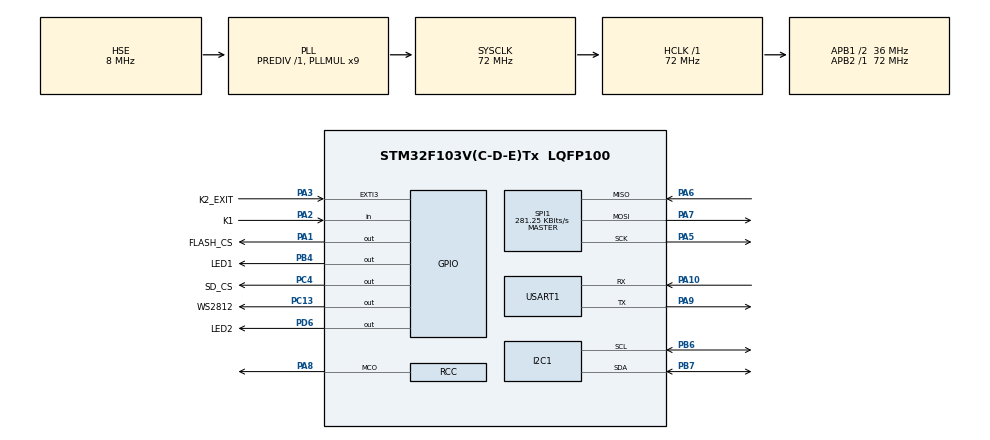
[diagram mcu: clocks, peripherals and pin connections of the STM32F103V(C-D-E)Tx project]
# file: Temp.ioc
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Mcu.Family=STM32F1
Mcu.Name=STM32F103V(C-D-E)Tx
Mcu.Package=LQFP100
NVIC.EXTI3_IRQn=true\:0\:0\:false\:false\:true\:true\:true\:true
NVIC.PriorityGroup=NVIC_PRIORITYGROUP_4
NVIC.USART1_IRQn=true\:0\:0\:false\:false\:true\:true\:true\:true
OSC_IN.Mode=HSE-External-Oscillator
OSC_IN.Signal=RCC_OSC_IN
OSC_OUT.Mode=HSE-External-Oscillator
OSC_OUT.Signal=RCC_OSC_OUT
PA1.GPIO_Label=FLASH_CS
PA1.GPIO_PuPd=GPIO_PULLUP
PA1.GPIO_Speed=GPIO_SPEED_FREQ_HIGH
PA1.PinState=GPIO_PIN_SET
PA1.Signal=GPIO_Output
PA10.Mode=Asynchronous
PA10.Signal=USART1_RX
PA13.Mode=Serial_Wire
PA13.Signal=SYS_JTMS-SWDIO
PA14.Mode=Serial_Wire
PA14.Signal=SYS_JTCK-SWCLK
PA2.GPIO_Label=K1
PA2.Signal=GPIO_Input
PA3.GPIO_Label=K2_EXIT
PA3.GPIO_ModeDefaultEXTI=GPIO_MODE_IT_FALLING
PA3.Signal=GPXTI3
PA5.Mode=Full_Duplex_Master
PA5.Signal=SPI1_SCK
PA6.Mode=Full_Duplex_Master
PA6.Signal=SPI1_MISO
PA7.Mode=Full_Duplex_Master
PA7.Signal=SPI1_MOSI
PA8.Mode=Clock-out
PA8.Signal=RCC_MCO
PA9.Mode=Asynchronous
PA9.Signal=USART1_TX
PB4.GPIO_Label=LED1
PB4.GPIO_ModeDefaultOutputPP=GPIO_MODE_OUTPUT_PP
PB4.GPIO_PuPd=GPIO_PULLUP
PB4.GPIO_Speed=GPIO_SPEED_FREQ_HIGH
PB4.PinState=GPIO_PIN_SET
PB4.Signal=GPIO_Output
PB6.Mode=I2C
PB6.Signal=I2C1_SCL
PB7.Mode=I2C
PB7.Signal=I2C1_SDA
PC13-TAMPER-RTC.GPIO_Label=WS2812
PC13-TAMPER-RTC.GPIO_PuPd=GPIO_PULLUP
PC13-TAMPER-RTC.GPIO_Speed=GPIO_SPEED_FREQ_HIGH
PC13-TAMPER-RTC.PinState=GPIO_PIN_SET
PC13-TAMPER-RTC.Signal=GPIO_Output
PC14-OSC32_IN.Mode=LSE-External-Oscillator
PC14-OSC32_IN.Signal=RCC_OSC32_IN
PC15-OSC32_OUT.Mode=LSE-External-Oscillator
PC15-OSC32_OUT.Signal=RCC_OSC32_OUT
PC4.GPIO_Label=SD_CS
PC4.GPIO_Speed=GPIO_SPEED_FREQ_HIGH
PC4.PinState=GPIO_PIN_SET
PC4.Signal=GPIO_Output
PD6.GPIO_Label=LED2
PD6.GPIO_ModeDefaultOutputPP=GPIO_MODE_OUTPUT_PP
PD6.GPIO_PuPd=GPIO_PULLUP
PD6.GPIO_Speed=GPIO_SPEED_FREQ_HIGH
PD6.PinState=GPIO_PIN_SET
PD6.Signal=GPIO_Output
ProjectManager.HeapSize=0x1000
ProjectManager.StackSize=0x2000
ProjectManager.TargetToolchain=Makefile
RCC.AHBFreq_Value=72000000
RCC.APB1CLKDivider=RCC_HCLK_DIV2
RCC.APB1Freq_Value=36000000
RCC.APB1TimFreq_Value=72000000
RCC.APB2Freq_Value=72000000
RCC.APB2TimFreq_Value=72000000
RCC.HCLKFreq_Value=72000000
RCC.PLLMUL=RCC_PLL_MUL9
RCC.PLLSourceVirtual=RCC_PLLSOURCE_HSE
RCC.RCC_MCOSource=RCC_MCO1SOURCE_PLLCLK
RCC.SYSCLKFreq_VALUE=72000000
RCC.SYSCLKSource=RCC_SYSCLKSOURCE_PLLCLK
RCC.USBFreq_Value=72000000
SPI1.BaudRatePrescaler=SPI_BAUDRATEPRESCALER_256
SPI1.CLKPhase=SPI_PHASE_2EDGE
SPI1.CLKPolarity=SPI_POLARITY_HIGH
SPI1.CRCCalculation=SPI_CRCCALCULATION_DISABLE
SPI1.CalculateBaudRate=281.25 KBits/s
SPI1.Direction=SPI_DIRECTION_2LINES
SPI1.Mode=SPI_MODE_MASTER
SPI1.VirtualType=VM_MASTER
USART1.VirtualMode=VM_ASYNC
board=custom

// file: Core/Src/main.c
/* USER CODE BEGIN Header */
/**
 ******************************************************************************
 * @file           : main.c
 * @brief          : Main program body
 ******************************************************************************
 * @attention
 *
 * Copyright (c) 2025 STMicroelectronics.
 * All rights reserved.
 *
 * This software is licensed under terms that can be found in the LICENSE file
 * in the root directory of this software component.
 * If no LICENSE file comes with this software, it is provided AS-IS.
 *
 ******************************************************************************
 */
/* USER CODE END Header */
#include "main.h"

/* USER CODE BEGIN Includes */
#include "stdio.h" //printf函数
#include "string.h"
#include "bsp_spi_flash.h" //SPI flash驱动
#include "bsp_spi_sd.h"    //SPI SD驱动
/* USER CODE END Includes */

/* USER CODE BEGIN PTD */
uint8_t rx_buff[100]; // 接收缓存
uint8_t rx_done = 0;  // 接收完成标志
uint8_t rx_cnt = 0;   // 接收数据长度
/* USER CODE END PTD */

I2C_HandleTypeDef hi2c1;

SPI_HandleTypeDef hspi1;

UART_HandleTypeDef huart1;

/* USER CODE BEGIN PV */
SPI_HandleTypeDef *hspi_flash = &hspi1; // 必须定义
SPI_HandleTypeDef *hspi_flash_sd = &hspi1; // 必须定义
/* USER CODE END PV */

void SystemClock_Config(void);
static void MX_GPIO_Init(void);
static void MX_USART1_UART_Init(void);
static void MX_I2C1_Init(void);
static void MX_SPI1_Init(void);
/* USER CODE BEGIN PFP */
void spi_flash_test(void); // SPI flash测试函数
void spi_sd_test(void);    // SPI SD测试函数
/* USER CODE END PFP */

int main(void)
{

  /* MCU Configuration--------------------------------------------------------*/

  /* Reset of all peripherals, Initializes the Flash interface and the Systick. */
  HAL_Init();

  /* Configure the system clock */
  SystemClock_Config();

  /* Initialize all configured peripherals */
  MX_GPIO_Init();
  MX_USART1_UART_Init();
  MX_I2C1_Init();
  MX_SPI1_Init();
  /* USER CODE BEGIN 2 */
  HAL_GPIO_WritePin(FLASH_CS_PORT, FLASH_CS_PIN, GPIO_PIN_SET);
  HAL_Delay(1000);
  //spi_flash_test(); // SPI flash测试函数

  spi_sd_test();    // SPI SD测试函数
  /* USER CODE END 2 */

  /* Infinite loop */
  while (1)
  {

  }
}

void SystemClock_Config(void)
{
  RCC_OscInitTypeDef RCC_OscInitStruct = {0};
  RCC_ClkInitTypeDef RCC_ClkInitStruct = {0};

  /** Initializes the RCC Oscillators according to the specified parameters
  * in the RCC_OscInitTypeDef structure.
  */
  RCC_OscInitStruct.OscillatorType = RCC_OSCILLATORTYPE_HSE;
  RCC_OscInitStruct.HSEState = RCC_HSE_ON;
  RCC_OscInitStruct.HSEPredivValue = RCC_HSE_PREDIV_DIV1;
  RCC_OscInitStruct.HSIState = RCC_HSI_ON;
  RCC_OscInitStruct.PLL.PLLState = RCC_PLL_ON;
  RCC_OscInitStruct.PLL.PLLSource = RCC_PLLSOURCE_HSE;
  RCC_OscInitStruct.PLL.PLLMUL = RCC_PLL_MUL9;
  if (HAL_RCC_OscConfig(&RCC_OscInitStruct) != HAL_OK)
  {
    Error_Handler();
  }

  /** Initializes the CPU, AHB and APB buses clocks
  */
  RCC_ClkInitStruct.ClockType = RCC_CLOCKTYPE_HCLK|RCC_CLOCKTYPE_SYSCLK
                              |RCC_CLOCKTYPE_PCLK1|RCC_CLOCKTYPE_PCLK2;
  RCC_ClkInitStruct.SYSCLKSource = RCC_SYSCLKSOURCE_PLLCLK;
  RCC_ClkInitStruct.AHBCLKDivider = RCC_SYSCLK_DIV1;
  RCC_ClkInitStruct.APB1CLKDivider = RCC_HCLK_DIV2;
  RCC_ClkInitStruct.APB2CLKDivider = RCC_HCLK_DIV1;

  if (HAL_RCC_ClockConfig(&RCC_ClkInitStruct, FLASH_LATENCY_2) != HAL_OK)
  {
    Error_Handler();
  }
  HAL_RCC_MCOConfig(RCC_MCO, RCC_MCO1SOURCE_PLLCLK, RCC_MCODIV_1);
}

static void MX_I2C1_Init(void)
{

  hi2c1.Instance = I2C1;
  hi2c1.Init.ClockSpeed = 100000;
  hi2c1.Init.DutyCycle = I2C_DUTYCYCLE_2;
  hi2c1.Init.OwnAddress1 = 0;
  hi2c1.Init.AddressingMode = I2C_ADDRESSINGMODE_7BIT;
  hi2c1.Init.DualAddressMode = I2C_DUALADDRESS_DISABLE;
  hi2c1.Init.OwnAddress2 = 0;
  hi2c1.Init.GeneralCallMode = I2C_GENERALCALL_DISABLE;
  hi2c1.Init.NoStretchMode = I2C_NOSTRETCH_DISABLE;
  if (HAL_I2C_Init(&hi2c1) != HAL_OK)
  {
    Error_Handler();
  }

}

static void MX_SPI1_Init(void)
{

  /* SPI1 parameter configuration*/
  hspi1.Instance = SPI1;
  hspi1.Init.Mode = SPI_MODE_MASTER;
  hspi1.Init.Direction = SPI_DIRECTION_2LINES;
  hspi1.Init.DataSize = SPI_DATASIZE_8BIT;
  hspi1.Init.CLKPolarity = SPI_POLARITY_HIGH;
  hspi1.Init.CLKPhase = SPI_PHASE_2EDGE;
  hspi1.Init.NSS = SPI_NSS_SOFT;
  hspi1.Init.BaudRatePrescaler = SPI_BAUDRATEPRESCALER_256;
  hspi1.Init.FirstBit = SPI_FIRSTBIT_MSB;
  hspi1.Init.TIMode = SPI_TIMODE_DISABLE;
  hspi1.Init.CRCCalculation = SPI_CRCCALCULATION_DISABLE;
  hspi1.Init.CRCPolynomial = 10;
  if (HAL_SPI_Init(&hspi1) != HAL_OK)
  {
    Error_Handler();
  }

}

static void MX_USART1_UART_Init(void)
{

  huart1.Instance = USART1;
  huart1.Init.BaudRate = 115200;
  huart1.Init.WordLength = UART_WORDLENGTH_8B;
  huart1.Init.StopBits = UART_STOPBITS_1;
  huart1.Init.Parity = UART_PARITY_NONE;
  huart1.Init.Mode = UART_MODE_TX_RX;
  huart1.Init.HwFlowCtl = UART_HWCONTROL_NONE;
  huart1.Init.OverSampling = UART_OVERSAMPLING_16;
  if (HAL_UART_Init(&huart1) != HAL_OK)
  {
    Error_Handler();
  }
  /* USER CODE BEGIN USART1_Init 2 */
  // �?启接收中断，空闲中断
  __HAL_UART_ENABLE_IT(&huart1, UART_IT_IDLE | UART_IT_RXNE);
  /* USER CODE END USART1_Init 2 */

}

static void MX_GPIO_Init(void)
{
  GPIO_InitTypeDef GPIO_InitStruct = {0};

  /* GPIO Ports Clock Enable */
  __HAL_RCC_GPIOC_CLK_ENABLE();
  __HAL_RCC_GPIOA_CLK_ENABLE();
  __HAL_RCC_GPIOD_CLK_ENABLE();
  __HAL_RCC_GPIOB_CLK_ENABLE();

  /*Configure GPIO pin Output Level */
  HAL_GPIO_WritePin(GPIOC, WS2812_Pin|SD_CS_Pin, GPIO_PIN_SET);

  /*Configure GPIO pin Output Level */
  HAL_GPIO_WritePin(FLASH_CS_GPIO_Port, FLASH_CS_Pin, GPIO_PIN_SET);

  /*Configure GPIO pin Output Level */
  HAL_GPIO_WritePin(LED2_GPIO_Port, LED2_Pin, GPIO_PIN_SET);

  /*Configure GPIO pin Output Level */
  HAL_GPIO_WritePin(LED1_GPIO_Port, LED1_Pin, GPIO_PIN_SET);

  /*Configure GPIO pin : WS2812_Pin */
  GPIO_InitStruct.Pin = WS2812_Pin;
  GPIO_InitStruct.Mode = GPIO_MODE_OUTPUT_PP;
  GPIO_InitStruct.Pull = GPIO_PULLUP;
  GPIO_InitStruct.Speed = GPIO_SPEED_FREQ_HIGH;
  HAL_GPIO_Init(WS2812_GPIO_Port, &GPIO_InitStruct);

  /*Configure GPIO pin : FLASH_CS_Pin */
  GPIO_InitStruct.Pin = FLASH_CS_Pin;
  GPIO_InitStruct.Mode = GPIO_MODE_OUTPUT_PP;
  GPIO_InitStruct.Pull = GPIO_PULLUP;
  GPIO_InitStruct.Speed = GPIO_SPEED_FREQ_HIGH;
  HAL_GPIO_Init(FLASH_CS_GPIO_Port, &GPIO_InitStruct);

  /*Configure GPIO pin : K1_Pin */
  GPIO_InitStruct.Pin = K1_Pin;
  GPIO_InitStruct.Mode = GPIO_MODE_INPUT;
  GPIO_InitStruct.Pull = GPIO_NOPULL;
  HAL_GPIO_Init(K1_GPIO_Port, &GPIO_InitStruct);

  /*Configure GPIO pin : K2_EXIT_Pin */
  GPIO_InitStruct.Pin = K2_EXIT_Pin;
  GPIO_InitStruct.Mode = GPIO_MODE_IT_FALLING;
  GPIO_InitStruct.Pull = GPIO_NOPULL;
  HAL_GPIO_Init(K2_EXIT_GPIO_Port, &GPIO_InitStruct);

  /*Configure GPIO pin : SD_CS_Pin */
  GPIO_InitStruct.Pin = SD_CS_Pin;
  GPIO_InitStruct.Mode = GPIO_MODE_OUTPUT_PP;
  GPIO_InitStruct.Pull = GPIO_NOPULL;
  GPIO_InitStruct.Speed = GPIO_SPEED_FREQ_HIGH;
  HAL_GPIO_Init(SD_CS_GPIO_Port, &GPIO_InitStruct);

  /*Configure GPIO pin : PA8 */
  GPIO_InitStruct.Pin = GPIO_PIN_8;
  GPIO_InitStruct.Mode = GPIO_MODE_AF_PP;
  GPIO_InitStruct.Speed = GPIO_SPEED_FREQ_LOW;
  HAL_GPIO_Init(GPIOA, &GPIO_InitStruct);

  /*Configure GPIO pin : LED2_Pin */
  GPIO_InitStruct.Pin = LED2_Pin;
  GPIO_InitStruct.Mode = GPIO_MODE_OUTPUT_PP;
  GPIO_InitStruct.Pull = GPIO_PULLUP;
  GPIO_InitStruct.Speed = GPIO_SPEED_FREQ_HIGH;
  HAL_GPIO_Init(LED2_GPIO_Port, &GPIO_InitStruct);

  /*Configure GPIO pin : LED1_Pin */
  GPIO_InitStruct.Pin = LED1_Pin;
  GPIO_InitStruct.Mode = GPIO_MODE_OUTPUT_PP;
  GPIO_InitStruct.Pull = GPIO_PULLUP;
  GPIO_InitStruct.Speed = GPIO_SPEED_FREQ_HIGH;
  HAL_GPIO_Init(LED1_GPIO_Port, &GPIO_InitStruct);

  /* EXTI interrupt init*/
  HAL_NVIC_SetPriority(EXTI3_IRQn, 0, 0);
  HAL_NVIC_EnableIRQ(EXTI3_IRQn);

}

/* USER CODE BEGIN 4 */
#ifdef __GNUC__
#define PUTCHAR_PROTOTYPE int __io_putchar(int ch)
#else
#define PUTCHAR_PROTOTYPE int fputc(int ch, FILE *f)
#endif /* __GNUC__ */
// 重定向printf函数
PUTCHAR_PROTOTYPE
{
  HAL_UART_Transmit(&huart1, (uint8_t *)&ch, 1, HAL_MAX_DELAY); // 输出指向串口USART1
  return ch;
}
// 重写GPIO中断处理函数
void HAL_GPIO_EXTI_Callback(uint16_t GPIO_Pin)
{
  // 翻转LED1
  HAL_GPIO_TogglePin(LED1_GPIO_Port, LED1_Pin);
  // 打印中断处理信息
  printf("K2 ExTi interrput!\r\n");
}
void spi_flash_test(void)
{
  /* 测试Flash驱动 */
  uint16_t manu_id, dev_id;
  uint8_t jedec_id[3];
  uint8_t write_buf[256] = {0xAA, 0xBB, 0xCC, 0xDD};
  uint8_t read_buf[256];

  Flash_ReadID(&manu_id, &dev_id);
  printf("Flash Manufacturer ID: 0x%04X\r\n", manu_id);
  printf("Flash Device ID: 0x%04X\r\n", dev_id);
  Flash_ReadJedecID(jedec_id);
  printf("Flash JEDEC ID: 0x%02X, 0x%02X, 0x%02X\r\n", jedec_id[0], jedec_id[1], jedec_id[2]);

  if (Flash_SectorErase(0x0000) == HAL_OK)
  {
    Flash_PageProgram(0x0000, write_buf, 4);
    Flash_ReadData(0x0000, read_buf, 4);
  }
  printf("Flash Write Data: 0x%02X, 0x%02X, 0x%02X, 0x%02X\r\n", write_buf[0], write_buf[1], write_buf[2], write_buf[3]);
  printf("Flash Read  Data: 0x%02X, 0x%02X, 0x%02X, 0x%02X\r\n", read_buf[0], read_buf[1], read_buf[2], read_buf[3]);
  // 验证数据
  if (memcmp(write_buf, read_buf, 4) == 0)
  {
    printf("\r\nSPI Flash Test Passed!\r\n");
  }
}
/*SD 测试 */
void spi_sd_test(void)
{
  /* SD卡测�? */
  printf("SD!\n");
  uint8_t error = SD_Init();
  if (error)
  {
    printf("SD_Init = %X!\n", error);
  }
  else
  {
    printf("SD Init Success!\n");

    /* 容量显示 */
    uint32_t capacity = SD_GetCapacity();
    printf("Capacity: %lu MB\n", capacity / (1024 * 1024));

    /* 读写验证
    uint8_t write_buf[512], read_buf[512];
    memset(write_buf, 0x55, 512);

    if (SD_WriteBlock(2048, write_buf) == 0)
    { // 使用2048块避免覆盖重要区�?
      printf("Write Success!\n");
      HAL_Delay(10);

      if (SD_ReadBlock(2048, read_buf) == 0)
      {
        printf("Read Success! ");
        printf("Verify %s\n", memcmp(write_buf, read_buf, 512) ? "Fail" : "OK");
      }
    }
      */
  }
}
/* USER CODE END 4 */

void Error_Handler(void)
{
  __disable_irq();
  while (1)
  {
  }
}
